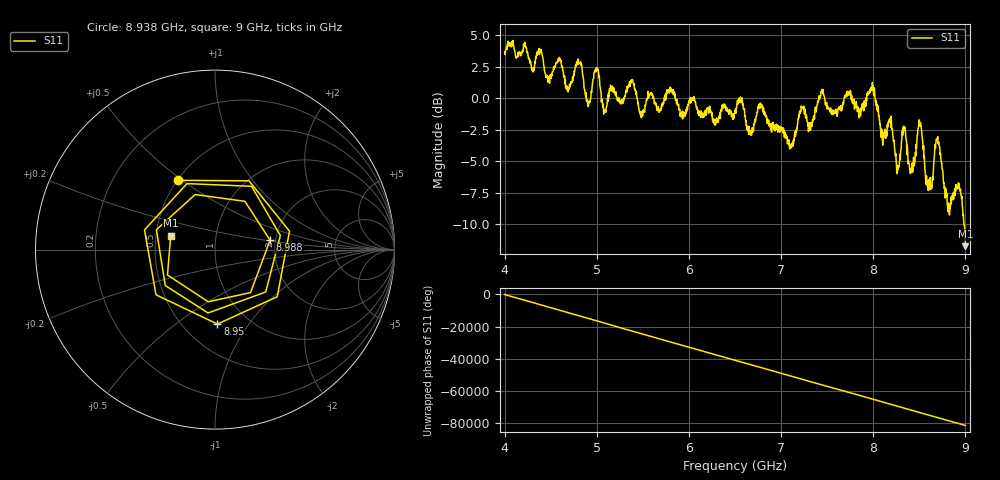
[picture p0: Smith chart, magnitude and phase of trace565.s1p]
! Created with skrf 1.8.0 (http://scikit-rf.org).
# Hz S RI R 50.0
!freq ReS11 ImS11
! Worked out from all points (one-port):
!   1601 points, 4 GHz to 9 GHz, reference 50 ohm
!   lowest |S11| = -11.8 dB at 9 GHz (marker M1), VSWR 1.70, Z = 29.9 + j4.98 ohm
!   |S11| at or under -10 dB: 8.984204 GHz to end of sweep
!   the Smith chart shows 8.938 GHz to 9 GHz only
!   S11 on the Smith chart (normalised r, x): 8.938 GHz: 0.50, +0.48; 8.95 GHz: 0.72, -0.72; 8.988 GHz: 1.87, +0.22; 9 GHz: 0.60, +0.10
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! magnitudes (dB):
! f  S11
! 4 GHz  3.6
! 4.625 GHz  2.5
! 5.25 GHz  -0.3
! 5.381 GHz  1.4
! 5.481 GHz  -1.5
! 5.875 GHz  -0.5
! 6.5 GHz  -1.0
! 6.778 GHz  -0.6
! 7.125 GHz  -3.5
! 7.225 GHz  -0.8
! 7.312 GHz  -2.4
! 7.438 GHz  0.5
! 7.75 GHz  0.2
! 7.991 GHz  1.2
! 8.097 GHz  -2.5
! 8.191 GHz  -2.3
! 8.262 GHz  -5.9
! 8.331 GHz  -2.2
! 8.375 GHz  -4.4
! 8.428 GHz  -5.9
! 8.506 GHz  -2.1
! 8.591 GHz  -7.1
! 8.697 GHz  -3.2
! 8.816 GHz  -8.5
! 8.938 GHz  -7.2
! 8.95 GHz  -7.6
! 8.988 GHz  -10.1
! 9 GHz  -11.8
